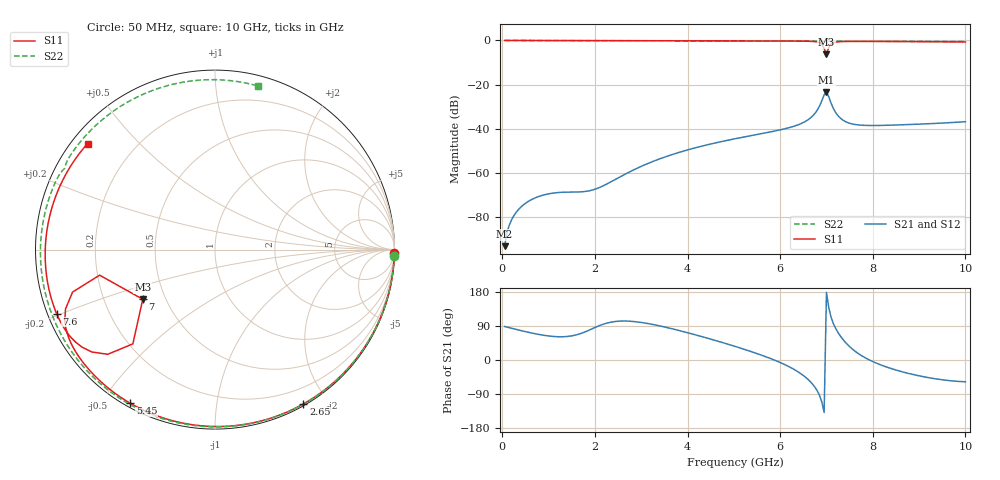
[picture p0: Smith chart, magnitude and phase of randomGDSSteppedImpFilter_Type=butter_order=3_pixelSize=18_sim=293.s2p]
! freq	dB(S11)	phase(S11)	dB(S12)	phase(S12)
!  dB(S21)	phase(S21)	dB(S22)	phase(S22)
!S-par simulation data
#  GHz  S  DB  R 50
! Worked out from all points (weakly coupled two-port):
!   200 points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, 50 MHz to 10 GHz, reference 50 ohm
!   highest |S21| = -23.49 dB at 7 GHz (marker M1); lowest = -93.4 dB at 50 MHz (marker M2)
!   lowest |S11| = -6.2 dB at 7 GHz (marker M3), VSWR 2.91, Z = 18.6 - j13.5 ohm
!   |S11| at or under -10 dB: nowhere
!   |S22| runs from -0.5 to 0.0 dB; largest |S21 - S12| = 0
!   S11 on the Smith chart (normalised r, x): 50 MHz: 0, -97; 2.65 GHz: 0.02, -1.73; 5.45 GHz: 0.02, -0.59; 7 GHz: 0.37, -0.27; 7.6 GHz: 0.03, -0.19; 10 GHz: 0.04, +0.36
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0.05  -0.00 -1.2  -93.39 88.4  -93.39 88.4  -0.00 -2.0
0.25  -0.01 -5.9  -79.55 82.2  -79.55 82.2  -0.01 -10.0
0.5  -0.02 -11.7  -73.94 74.8  -73.94 74.8  -0.03 -19.9
0.85  -0.03 -19.8  -70.40 66.1  -70.40 66.1  -0.04 -33.6
1.75  -0.05 -40.3  -68.65 72.3  -68.65 72.3  -0.08 -66.9
2.65  -0.08 -60.2  -60.74 102.9  -60.74 102.9  -0.11 -96.6
3.4  -0.10 -76.3  -53.75 90.0  -53.75 90.0  -0.14 -118.9
4.25  -0.13 -94.1  -48.29 63.8  -48.29 63.8  -0.17 -141.9
5.05  -0.17 -110.6  -44.52 35.0  -44.52 35.0  -0.20 -162.0
5.45  -0.20 -118.9  -42.90 19.1  -42.90 19.1  -0.22 -171.7
6.3  -0.27 -137.5  -38.94 -24.8  -38.94 -24.8  -0.27 168.1
6.7  -0.44 -149.4  -34.32 -63.7  -34.32 -63.7  -0.30 158.5
6.9  -1.64 -163.4  -27.40 -110.6  -27.40 -110.6  -0.35 153.5
6.95  -3.63 -167.5  -24.68 -138.5  -24.68 -138.5  -0.39 152.4
7  -6.23 -145.5  -23.49 178.3  -23.49 178.3  -0.43 151.6
7.05  -3.14 -131.1  -25.58 138.0  -25.58 138.0  -0.39 150.7
7.1  -1.56 -135.7  -28.49 112.7  -28.49 112.7  -0.36 149.5
7.3  -0.54 -148.5  -35.27 63.3  -35.27 63.3  -0.34 144.5
7.6  -0.43 -158.0  -38.09 24.8  -38.09 24.8  -0.35 137.1
8.35  -0.47 -176.4  -38.48 -20.7  -38.48 -20.7  -0.40 118.5
9.2  -0.57 162.4  -37.82 -46.5  -37.82 -46.5  -0.46 96.7
10  -0.69 140.3  -36.89 -57.5  -36.89 -57.5  -0.51 75.3
